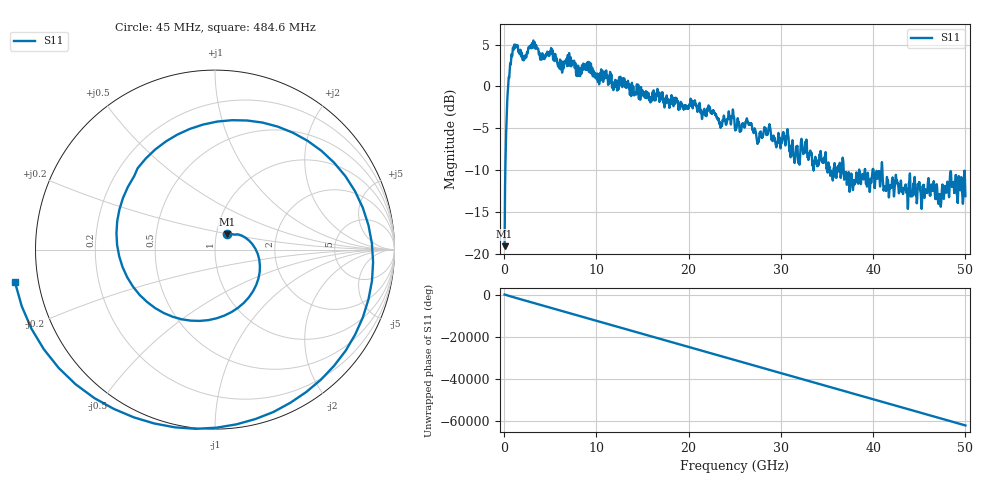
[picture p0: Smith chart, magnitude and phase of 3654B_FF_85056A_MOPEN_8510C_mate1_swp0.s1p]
!Created with skrf (http://scikit-rf.org).
# Hz S RI R 50.0
!freq ReS11 ImS11
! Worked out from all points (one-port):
!   10001 points, 45 MHz to 50 GHz, reference 50 ohm
!   lowest |S11| = -19.1 dB at 45 MHz (marker M1), VSWR 1.25, Z = 56.5 + j10 ohm
!   |S11| at or under -10 dB: 36.81 GHz to 38.46 GHz (1.657 GHz wide, 4.4 % of centre); 40.03 GHz to 40.9 GHz (867.9 MHz wide, 2.14 % of centre); 41 GHz to end of sweep (the widest 3 of 13)
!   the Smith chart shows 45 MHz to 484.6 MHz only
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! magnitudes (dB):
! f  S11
! 45 MHz  -19.1
! 314.8 MHz  -2.1
! 434.6 MHz  0.1
! 699.4 MHz  2.6
! 1.024 GHz  4.4
! 2.188 GHz  3.6
! 3.237 GHz  4.6
! 6.289 GHz  1.7
! 12.53 GHz  0.3
! 18.78 GHz  -1.9
! 25.02 GHz  -5.1
! 26.51 GHz  -4.5
! 27.52 GHz  -6.6
! 28.57 GHz  -5.7
! 29.44 GHz  -6.9
! 30.52 GHz  -6.9
! 31.27 GHz  -6.5
! 32.56 GHz  -8.0
! 33.61 GHz  -9.1
! 36.57 GHz  -10.3
! 37.51 GHz  -11.4
! 40.77 GHz  -11.8
! 41.28 GHz  -11.9
! 43.76 GHz  -14.6
! 46.46 GHz  -12.4
! 47.2 GHz  -12.8
! 48.52 GHz  -11.9
! 50 GHz  -13.1
